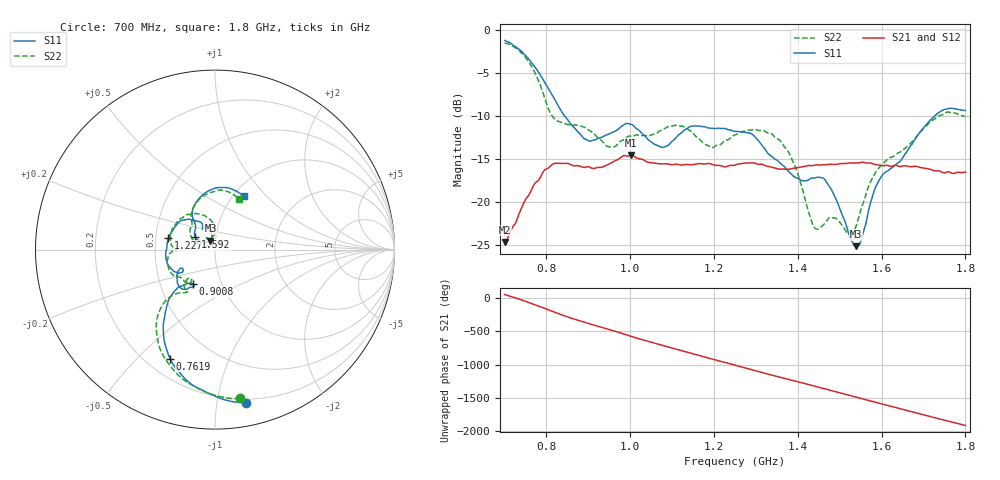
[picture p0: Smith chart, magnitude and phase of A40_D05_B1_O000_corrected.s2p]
! Created with skrf 1.9.0 (http://scikit-rf.org).
# Hz S RI R 50.0
!freq ReS11 ImS11 ReS21 ImS21 ReS12 ImS12 ReS22 ImS22
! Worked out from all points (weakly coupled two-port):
!   1601 points, 700 MHz to 1.8 GHz, reference 50 ohm
!   highest |S21| = -14.55 dB at 1.002 GHz (marker M1); lowest = -24.6 dB at 700 MHz (marker M2)
!   lowest |S11| = -25.1 dB at 1.538 GHz (marker M3), VSWR 1.12, Z = 47.3 + j4.68 ohm
!   |S11| at or under -10 dB: 843.6 MHz to 1.726 GHz (882.4 MHz wide, 68.7 % of centre)
!   |S22| runs from -23.7 to -1.5 dB; largest |S21 - S12| = 0.0035
!   S11 on the Smith chart (normalised r, x): 700 MHz: 0.17, -1.21; 761.9 MHz: 0.29, -0.63; 900.8 MHz: 0.73, -0.29; 1.227 GHz: 0.58, +0.08; 1.592 GHz: 0.79, +0.12; 1.8 GHz: 1.12, +0.76
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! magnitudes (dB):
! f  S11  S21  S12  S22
! 700 MHz  -1.2  -24.6  -24.4  -1.5
! 761.9 MHz  -3.6  -18.8  -18.7  -4.0
! 816.2 MHz  -7.8  -15.5  -15.6  -10.2
! 883.6 MHz  -12.3  -15.9  -15.8  -11.2
! 900.8 MHz  -12.9  -15.9  -15.9  -11.6
! 949.6 MHz  -12.1  -15.6  -15.6  -13.6
! 1.002 GHz  -10.9  -14.6  -14.6  -12.4
! 1.067 GHz  -13.5  -15.5  -15.5  -11.8
! 1.145 GHz  -11.2  -15.7  -15.7  -11.8
! 1.193 GHz  -11.4  -15.6  -15.5  -13.6
! 1.227 GHz  -11.4  -15.9  -15.8  -12.8
! 1.25 GHz  -11.8  -15.7  -15.6  -12.2
! 1.358 GHz  -15.5  -16.2  -16.1  -12.9
! 1.394 GHz  -17.1  -16.0  -16.0  -15.9
! 1.434 GHz  -17.2  -15.8  -15.7  -22.3
! 1.476 GHz  -18.2  -15.6  -15.6  -21.8
! 1.538 GHz  -25.1  -15.4  -15.4  -22.9
! 1.551 GHz  -24.4  -15.4  -15.4  -20.8
! 1.592 GHz  -17.7  -15.7  -15.7  -16.1
! 1.617 GHz  -16.3  -15.8  -15.7  -14.9
! 1.733 GHz  -9.7  -16.3  -16.4  -10.1
! 1.8 GHz  -9.4  -16.5  -16.5  -10.0
